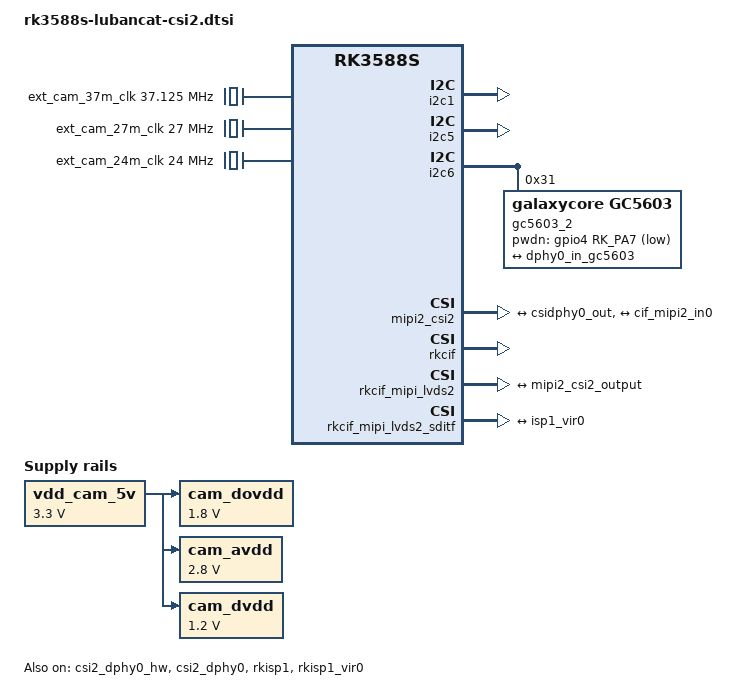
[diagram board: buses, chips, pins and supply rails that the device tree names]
// SPDX-License-Identifier: (GPL-2.0+ OR MIT)
/*
 * Copyright (c) 2020 Rockchip Electronics Co., Ltd.
 *
 */

/ {
	ext_cam_37m_clk: external-camera-37m-clock {
		compatible = "fixed-clock";
		clock-frequency = <37125000>;
		clock-output-names = "ext_cam_37m_clk";
		#clock-cells = <0>;
	};
	ext_cam_27m_clk: external-camera-27m-clock {
		compatible = "fixed-clock";
		clock-frequency = <27000000>;
		clock-output-names = "ext_cam_27m_clk";
		#clock-cells = <0>;
	};
	ext_cam_24m_clk: external-camera-24m-clock {
		compatible = "fixed-clock";
		clock-frequency = <24000000>;
		clock-output-names = "ext_cam_24m_clk";
		#clock-cells = <0>;
	};

	vdd_cam_5v: vdd-cam-5v-regulator {
		compatible = "regulator-fixed";
		regulator-name = "vdd_cam_5v";
		regulator-always-on;
		regulator-boot-on;
		regulator-min-microvolt = <3300000>;
		regulator-max-microvolt = <3300000>;
	};

	cam_dovdd: cam-dovdd {
		compatible = "regulator-fixed";
		regulator-name = "cam_dovdd";
		regulator-always-on;
		regulator-boot-on;
		regulator-min-microvolt = <1800000>;
		regulator-max-microvolt = <1800000>;
		vin-supply = <&vdd_cam_5v>;
	};

	cam_avdd: cam-avdd {
		compatible = "regulator-fixed";
		regulator-name = "cam_avdd";
		regulator-always-on;
		regulator-boot-on;
		regulator-min-microvolt = <2800000>;
		regulator-max-microvolt = <2800000>;
		vin-supply = <&vdd_cam_5v>;
	};

	cam_dvdd: cam-dvdd {
		compatible = "regulator-fixed";
		regulator-name = "cam_dvdd";
		regulator-always-on;
		regulator-boot-on;
		regulator-min-microvolt = <1200000>;
		regulator-max-microvolt = <1200000>;
		vin-supply = <&vdd_cam_5v>;
	};
};

//CAM 0
/* Link path: sensor->csi2_dcphy0->mipi0_csi2->rkcif_mipi_lvds--->rkcif_mipi_lvds_sditf->rkisp0_vir0 */
&i2c1 {
	status = "okay";
	pinctrl-names = "default";
	pinctrl-0 = <&i2c1m2_xfer>;

	gc5603_0: gc5603@31 {
		compatible = "galaxycore,gc5603";
		status = "disabled";
		reg = <0x31>;
		clocks = <&ext_cam_24m_clk>;
		clock-names = "xvclk";
		pwdn-gpios = <&gpio4 RK_PA7 GPIO_ACTIVE_LOW>;

		rockchip,camera-module-index = <1>;
		rockchip,camera-module-facing = "back";
		rockchip,camera-module-name = "GCDS01A";
		rockchip,camera-module-lens-name = "default";
		port {
			gc5603_out0: endpoint {
				remote-endpoint = <&dcphy0_in_gc5603>;
				data-lanes = <1 2>;
			};
		};
	};

	imx415_0: imx415@1a {
		compatible = "sony,imx415";
		status = "disabled";
		reg = <0x1a>;
		clocks = <&ext_cam_37m_clk>;
		clock-names = "xvclk";
		avdd-supply = <&cam_avdd>;
		dovdd-supply = <&cam_dovdd>;
		dvdd-supply = <&cam_dvdd>;
		reset-gpios = <&gpio1 RK_PB2 GPIO_ACTIVE_LOW>;

		rockchip,camera-module-index = <2>;
		rockchip,camera-module-facing = "back";
		rockchip,camera-module-name = "CMK-OT2022-PX1";
		rockchip,camera-module-lens-name = "IR0147-50IRC-8M-F20";
		port {
			imx415_out0: endpoint {
				remote-endpoint = <&dcphy0_in_imx415>;
				data-lanes = <1 2 3 4>;
			};
		};
	};
};

&mipi_dcphy0 {
	status = "disabled";
};

&csi2_dcphy0 {
	status = "disabled";
	
	ports {
		#address-cells = <1>;
		#size-cells = <0>;

		port@0 {
			reg = <0>;
			#address-cells = <1>;
			#size-cells = <0>;

			dcphy0_in_gc5603: endpoint@0 {
				reg = <0>;
				remote-endpoint = <&gc5603_out0>;
				data-lanes = <1 2>;
			};
			dcphy0_in_imx415: endpoint@1 {
				reg = <1>;
				remote-endpoint = <&imx415_out0>;
				data-lanes = <1 2 3 4>;
			};
		};

		port@1 {
			reg = <1>;
			#address-cells = <1>;
			#size-cells = <0>;

			csidcphy0_out: endpoint@0 {
				reg = <0>;
				remote-endpoint = <&mipi0_csi2_input>;
			};
		};
	};
};

&mipi0_csi2 {
	status = "disabled";

	ports {
		#address-cells = <1>;
		#size-cells = <0>;

		port@0 {
			reg = <0>;
			#address-cells = <1>;
			#size-cells = <0>;

			mipi0_csi2_input: endpoint@1 {
				reg = <1>;
				remote-endpoint = <&csidcphy0_out>;
			};
		};

		port@1 {
			reg = <1>;
			#address-cells = <1>;
			#size-cells = <0>;

			mipi0_csi2_output: endpoint@0 {
				reg = <0>;
				remote-endpoint = <&cif_mipi0_in0>;
			};
		};
	};
};


//CAM 1
/* Link path: sensor->csi2_dcphy1->mipi1_csi2->rkcif_mipi_lvds1--->rkcif_mipi_lvds1_sditf->rkisp0_vir1 */
&i2c5 {
	status = "okay";
	pinctrl-names = "default";
	pinctrl-0 = <&i2c5m3_xfer>;

	gc5603_1: gc5603@31 {
		compatible = "galaxycore,gc5603";
		status = "disabled";
		reg = <0x31>;
		clocks = <&ext_cam_24m_clk>;
		clock-names = "xvclk";
		pwdn-gpios = <&gpio4 RK_PA7 GPIO_ACTIVE_LOW>;

		rockchip,camera-module-index = <1>;
		rockchip,camera-module-facing = "back";
		rockchip,camera-module-name = "GCDS01A";
		rockchip,camera-module-lens-name = "default";
		port {
			gc5603_out1: endpoint {
				remote-endpoint = <&dcphy1_in_gc5603>;
				data-lanes = <1 2>;
			};
		};
	};
};

&mipi_dcphy1 {
	status = "disabled";
};

&csi2_dcphy1 {
	status = "disabled";
	
	ports {
		#address-cells = <1>;
		#size-cells = <0>;

		port@0 {
			reg = <0>;
			#address-cells = <1>;
			#size-cells = <0>;

			dcphy1_in_gc5603: endpoint@0 {
				reg = <0>;
				remote-endpoint = <&gc5603_out1>;
				data-lanes = <1 2>;
			};
		};

		port@1 {
			reg = <1>;
			#address-cells = <1>;
			#size-cells = <0>;

			csidcphy1_out: endpoint@0 {
				reg = <0>;
				remote-endpoint = <&mipi1_csi2_input>;
			};
		};
	};
};

&mipi1_csi2 {
	status = "disabled";

	ports {
		#address-cells = <1>;
		#size-cells = <0>;

		port@0 {
			reg = <0>;
			#address-cells = <1>;
			#size-cells = <0>;

			mipi1_csi2_input: endpoint@1 {
				reg = <1>;
				remote-endpoint = <&csidcphy1_out>;
			};
		};

		port@1 {
			reg = <1>;
			#address-cells = <1>;
			#size-cells = <0>;

			mipi1_csi2_output: endpoint@0 {
				reg = <0>;
				remote-endpoint = <&cif_mipi1_in0>;
			};
		};
	};
};


//CAM2
/* Link path: sensor->csi2_dphy0->mipi2_csi2->cif_mipi2--->rkcif_mipi_lvds2->rkisp1_vir0 */
&i2c6 {
	status = "okay";
	pinctrl-names = "default";
	pinctrl-0 = <&i2c6m3_xfer>;

	gc5603_2: gc5603@31 {
		compatible = "galaxycore,gc5603";
		status = "okay";
		reg = <0x31>;
		clocks = <&ext_cam_24m_clk>;
		clock-names = "xvclk";
		pwdn-gpios = <&gpio4 RK_PA7 GPIO_ACTIVE_LOW>;

		rockchip,camera-module-index = <1>;
		rockchip,camera-module-facing = "back";
		rockchip,camera-module-name = "GCDS01A";
		rockchip,camera-module-lens-name = "default";
		port {
			gc5603_out2: endpoint {
				remote-endpoint = <&dphy0_in_gc5603>;
				data-lanes = <1 2>;
			};
		};
	};

	imx415: imx415@1a {
		compatible = "sony,imx415";
		status = "disabled";
		reg = <0x1a>;
		clocks = <&ext_cam_37m_clk>;
		clock-names = "xvclk";
		avdd-supply = <&cam_avdd>;
		dovdd-supply = <&cam_dovdd>;
		dvdd-supply = <&cam_dvdd>;
		reset-gpios = <&gpio1 RK_PB2 GPIO_ACTIVE_LOW>;

		rockchip,camera-module-index = <2>;
		rockchip,camera-module-facing = "back";
		rockchip,camera-module-name = "CMK-OT2022-PX1";
		rockchip,camera-module-lens-name = "IR0147-50IRC-8M-F20";
		port {
			imx415_out2: endpoint {
				remote-endpoint = <&dphy0_in_imx415>;
				data-lanes = <1 2 3 4>;
			};
		};
	};
};

&csi2_dphy0_hw {
	status = "okay";
};

&csi2_dphy0 {
	status = "okay";
	
	ports {
		#address-cells = <1>;
		#size-cells = <0>;

		port@0 {
			reg = <0>;
			#address-cells = <1>;
			#size-cells = <0>;

			dphy0_in_gc5603: endpoint@0 {
				reg = <0>;
				remote-endpoint = <&gc5603_out2>;
				data-lanes = <1 2>;
			};

			dphy0_in_imx415: endpoint@1 {
				reg = <1>;
				remote-endpoint = <&imx415_out2>;
				data-lanes = <1 2 3 4>;
			};
		};

		port@1 {
			reg = <1>;
			#address-cells = <1>;
			#size-cells = <0>;

			csidphy0_out: endpoint@0 {
				reg = <0>;
				remote-endpoint = <&mipi2_csi2_input>;
			};
		};
	};
};

&mipi2_csi2 {
	status = "okay";

	ports {
		#address-cells = <1>;
		#size-cells = <0>;

		port@0 {
			reg = <0>;
			#address-cells = <1>;
			#size-cells = <0>;

			mipi2_csi2_input: endpoint@1 {
				reg = <1>;
				remote-endpoint = <&csidphy0_out>;
			};
		};

		port@1 {
			reg = <1>;
			#address-cells = <1>;
			#size-cells = <0>;

			mipi2_csi2_output: endpoint@0 {
				reg = <0>;
				remote-endpoint = <&cif_mipi2_in0>;
			};
		};
	};
};


&rkcif {
	status = "okay";
};

&rkcif_mmu {
	status = "okay";
};

&rkcif_mipi_lvds {
	status = "disabled";

	port {
		cif_mipi0_in0: endpoint {
			remote-endpoint = <&mipi0_csi2_output>;
		};
	};
};

&rkcif_mipi_lvds_sditf {
	status = "disabled";

	port {
		mipi_lvds_sditf: endpoint {
			remote-endpoint = <&isp0_vir0>;
		};
	};
};

&rkcif_mipi_lvds1 {
	status = "disabled";

	port {
		cif_mipi1_in0: endpoint {
			remote-endpoint = <&mipi1_csi2_output>;
		};
	};
};

&rkcif_mipi_lvds1_sditf {
	status = "disabled";

	port {
		mipi_lvds1_sditf: endpoint {
			remote-endpoint = <&isp0_vir1>;
		};
	};
};

&rkcif_mipi_lvds2 {
	status = "okay";

	port {
		cif_mipi2_in0: endpoint {
			remote-endpoint = <&mipi2_csi2_output>;
		};
	};
};

&rkcif_mipi_lvds2_sditf {
	status = "okay";

	port {
		mipi_lvds2_sditf: endpoint {
			remote-endpoint = <&isp1_vir0>;
		};
	};
};

&rkisp0 {
	status = "disabled";
};

&isp0_mmu {
	status = "disabled";
};

&rkisp0_vir0 {
	status = "disabled";

	port {
		#address-cells = <1>;
		#size-cells = <0>;

		isp0_vir0: endpoint@0 {
			reg = <0>;
			remote-endpoint = <&mipi_lvds_sditf>;
		};
	};
};

&rkisp0_vir1 {
	status = "disabled";

	port {
		#address-cells = <1>;
		#size-cells = <0>;

		isp0_vir1: endpoint@0 {
			reg = <0>;
			remote-endpoint = <&mipi_lvds1_sditf>;
		};
	};
};


&rkisp1 {
	status = "okay";
};

&isp1_mmu {
	status = "okay";
};

&rkisp1_vir0 {
	status = "okay";

	port {
		#address-cells = <1>;
		#size-cells = <0>;

		isp1_vir0: endpoint@0 {
			reg = <0>;
			remote-endpoint = <&mipi_lvds2_sditf>;
		};
	};
};
